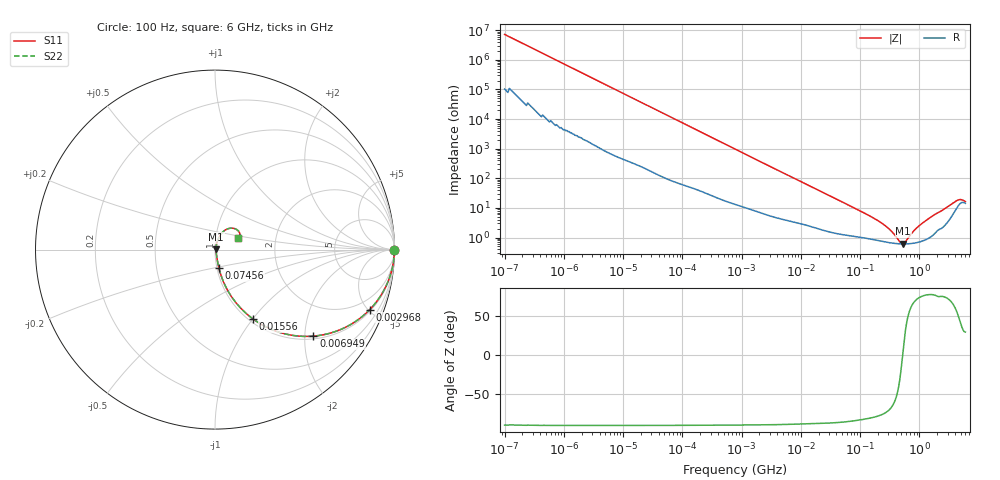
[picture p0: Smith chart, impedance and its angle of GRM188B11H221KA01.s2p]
!Murata Part Number: GRM188B11H221KA01
!These Parameters are Measured in Series Mode Connection
!Data Generated on Mar 30, 2021
!  o--ll--o
!Port1  Port2
!  o------o
!Operation Temp=25[degC], DC Bias Voltage=0[V]
!Freq. Start=100[Hz] Stop=6[GHz] 401[Steps]
# Hz S RI R 50
!Freq.(Hz) S11(Real) S11(Imag) S21(Real) S21(Imag) S12(Real) S12(Imag) S22(Real) S22(Imag)
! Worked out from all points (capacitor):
!   401 points, 100 Hz to 6 GHz, reference 50 ohm
!   read as one part in series: C = 220 pF near 109 Hz
!   lowest |Z| = 613 mohm at 534.7 MHz (marker M1)
!   series resonance near 522.6 MHz, so ESL is about 420 pH
!   S11 on the Smith chart (normalised r, x): 100 Hz: open; 2.968 MHz: 1.11, -5.12; 6.949 MHz: 1.07, -2.21; 15.56 MHz: 1.05, -1.00; 74.56 MHz: 1.02, -0.21; 6 GHz: 1.29, +0.16
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100  1 -1.39e-05  2e-07 1.39e-05  2e-07 1.39e-05  1 -1.39e-05
717  1 -9.85e-05  6e-07 9.85e-05  6e-07 9.85e-05  1 -9.85e-05
2008  1 -0.000275  1.8e-06 0.000275  1.8e-06 0.000275  1 -0.000275
40335  0.9999 -0.00546  6.73e-05 0.00546  6.73e-05 0.00546  0.9999 -0.00546
241822  0.9986 -0.0324  0.00139 0.0324  0.00139 0.0324  0.9986 -0.0324
774597  0.9881 -0.1017  0.0119 0.1017  0.0119 0.1017  0.9881 -0.1017
1658239  0.9508 -0.2077  0.0492 0.2077  0.0492 0.2077  0.9508 -0.2077
2967816  0.8627 -0.3338  0.1373 0.3338  0.1373 0.3338  0.8627 -0.3338
6948629  0.5485 -0.4821  0.4515 0.4821  0.4515 0.4821  0.5485 -0.4821
1.555665e7  0.2119 -0.3866  0.7881 0.3866  0.7881 0.3866  0.2119 -0.3866
3.045065e7  0.0755 -0.2361  0.9245 0.2361  0.9245 0.2361  0.0755 -0.2361
7.455971e7  0.0218 -0.1028  0.9782 0.1028  0.9782 0.1028  0.0218 -0.1028
1.909225e8  0.00945 -0.0379  0.9905 0.0379  0.9905 0.0379  0.00945 -0.0379
3.124326e8  0.00697 -0.0177  0.993 0.0177  0.993 0.0177  0.00697 -0.0177
4.674818e8  0.00611 -0.00374  0.9939 0.00374  0.9939 0.00374  0.00611 -0.00374
5.346885e8  0.00604 0.000781  0.994 -0.000781  0.994 -0.000781  0.00604 0.000781
5.847788e8  0.00607 0.00382  0.9939 -0.00382  0.9939 -0.00382  0.00607 0.00382
9.150511e8  0.00712 0.0202  0.9929 -0.0202  0.9929 -0.0202  0.00712 0.0202
1.712697e9  0.0147 0.0522  0.9853 -0.0522  0.9853 -0.0522  0.0147 0.0522
4.193612e9  0.1 0.1191  0.9 -0.1191  0.9 -0.1191  0.1 0.1191
5.016141e9  0.1375 0.0929  0.8625 -0.0929  0.8625 -0.0929  0.1375 0.0929
6e9  0.1294 0.062  0.8706 -0.062  0.8706 -0.062  0.1294 0.062
